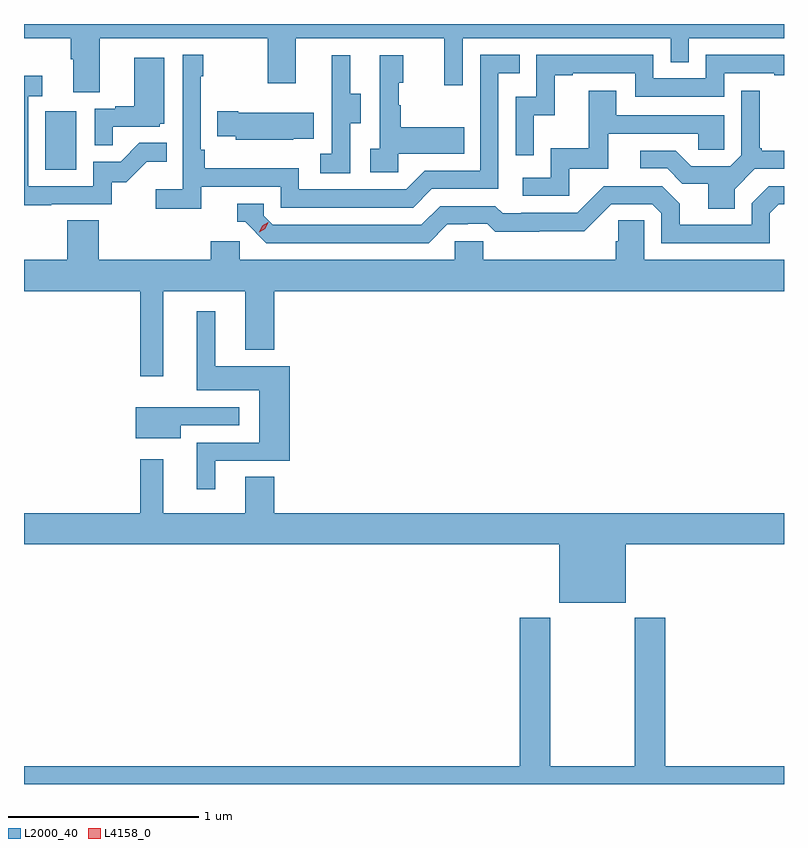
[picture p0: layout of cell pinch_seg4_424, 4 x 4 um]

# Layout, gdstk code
import gdstk
lib = gdstk.Library(unit=1e-6, precision=1e-09)
def R(c, l, rs):  # rectangles x0, y0, x1, y1
    for r in rs: c.add(gdstk.rectangle(r[:2], r[2:], *l))
def P(c, l, *ps):  # polygons
    for p in ps: c.add(gdstk.Polygon(p, *l))
L2000_40 = (2000, 40)
L4158_0 = (4158, 0)

pinch_seg4_424 = lib.new_cell('pinch_seg4_424')
R(pinch_seg4_424, L2000_40, [(922.118,776.148,922.282,776.455)])
P(pinch_seg4_424, L2000_40, [(922.405,776.84),(923.29,776.84),(923.29,776.601),(923.437,776.601),(923.437,776.84),(924.218,776.84),(924.218,776.592),(924.315,776.592),(924.315,776.84),(925.41,776.84),(925.41,776.713),(925.506,776.713),(925.506,776.84),(926.007,776.84),(926.007,776.914),(922.007,776.914),(922.007,776.84),(922.253,776.84),(922.253,776.728),(922.265,776.728),(922.265,776.554),(922.405,776.554)],
  [(922.94,776.058),(923.358,776.058),(923.358,775.947),(924.055,775.947),(924.154,776.046),(924.504,776.046),(924.504,776.655),(924.617,776.655),(924.617,776.751),(924.408,776.751),(924.408,776.142),(924.117,776.142),(924.018,776.043),(923.454,776.043),(923.454,776.155),(922.958,776.155),(922.958,776.251),(922.938,776.251),(922.938,776.639),(922.951,776.639),(922.951,776.752),(922.842,776.752),(922.842,776.044),(922.701,776.044),(922.701,775.942),(922.94,775.942)],
  [(924.69,776.435),(924.8,776.435),(924.8,776.643),(924.895,776.643),(924.895,776.655),(925.224,776.655),(925.224,776.532),(925.692,776.532),(925.692,776.655),(925.955,776.655),(925.955,776.643),(926.007,776.643),(926.007,776.751),(925.596,776.751),(925.596,776.628),(925.32,776.628),(925.32,776.751),(924.702,776.751),(924.702,776.532),(924.594,776.532),(924.594,776.223),(924.69,776.223)],
  [(923.976,776.231),(924.323,776.231),(924.323,776.371),(923.989,776.371),(923.989,776.486),(923.979,776.486),(923.979,776.604),(924.004,776.604),(924.004,776.749),(923.88,776.749),(923.88,776.258),(923.829,776.258),(923.829,776.133),(923.976,776.133)],
  [(923.724,776.392),(923.779,776.392),(923.779,776.547),(923.725,776.547),(923.725,776.749),(923.627,776.749),(923.627,776.535),(923.628,776.535),(923.628,776.231),(923.565,776.231),(923.565,776.128),(923.724,776.128)],
  [(922.475,776.373),(922.722,776.373),(922.722,776.388),(922.744,776.388),(922.744,776.737),(922.586,776.737),(922.586,776.482),(922.487,776.482),(922.487,776.469),(922.38,776.469),(922.38,776.275),(922.475,776.275)],
  [(922.151,775.965),(922.47,775.965),(922.47,776.082),(922.546,776.082),(922.653,776.189),(922.757,776.189),(922.757,776.288),(922.613,776.288),(922.515,776.19),(922.371,776.19),(922.371,776.061),(922.029,776.061),(922.029,776.535),(922.102,776.535),(922.102,776.641),(922.007,776.641),(922.007,775.96),(922.151,775.96)],
  [(924.876,776.151),(925.081,776.151),(925.081,776.337),(925.555,776.337),(925.555,776.253),(925.692,776.253),(925.692,776.433),(925.123,776.433),(925.123,776.563),(924.979,776.563),(924.979,776.26),(924.78,776.26),(924.78,776.106),(924.633,776.106),(924.633,776.01),(924.876,776.01)],
  [(925.747,776.044),(925.854,776.151),(926.007,776.151),(926.007,776.248),(925.891,776.248),(925.891,776.26),(925.879,776.26),(925.879,776.563),(925.782,776.563),(925.782,776.223),(925.725,776.166),(925.519,776.166),(925.438,776.247),(925.251,776.247),(925.251,776.154),(925.392,776.154),(925.472,776.074),(925.607,776.074),(925.607,775.942),(925.747,775.942)],
  [(923.423,776.309),(923.531,776.309),(923.531,776.446),(923.134,776.446),(923.134,776.454),(923.023,776.454),(923.023,776.324),(923.121,776.324),(923.121,776.306),(923.423,776.306)],
  [(924.235,775.86),(924.342,775.86),(924.342,775.863),(924.445,775.863),(924.487,775.821),(924.72,775.821),(924.72,775.823),(924.956,775.823),(925.098,775.965),(925.314,775.965),(925.362,775.917),(925.362,775.761),(925.932,775.761),(925.932,775.917),(925.98,775.965),(926.007,775.965),(926.007,776.061),(925.926,776.061),(925.836,775.971),(925.836,775.857),(925.459,775.857),(925.459,775.967),(925.365,776.061),(925.059,776.061),(924.918,775.92),(924.625,775.92),(924.625,775.917),(924.526,775.917),(924.487,775.956),(924.198,775.956),(924.099,775.857),(923.316,775.857),(923.268,775.905),(923.268,775.968),(923.129,775.968),(923.129,775.872),(923.172,775.872),(923.283,775.761),(924.136,775.761)],
  [(923.142,775.77),(922.991,775.77),(922.991,775.672),(922.4,775.672),(922.4,775.88),(922.235,775.88),(922.235,775.672),(922.007,775.672),(922.007,775.508),(922.62,775.508),(922.62,775.059),(922.741,775.059),(922.741,775.508),(923.171,775.508),(923.171,775.199),(923.324,775.199),(923.324,775.508),(926.007,775.508),(926.007,775.672),(925.272,775.672),(925.272,775.88),(925.135,775.88),(925.135,775.77),(925.121,775.77),(925.121,775.672),(924.423,775.672),(924.423,775.77),(924.273,775.77),(924.273,775.672),(923.142,775.672)],
  [(923.014,774.615),(923.405,774.615),(923.405,775.114),(923.014,775.114),(923.014,775.402),(922.916,775.402),(922.916,774.986),(923.246,774.986),(923.246,774.711),(922.916,774.711),(922.916,774.465),(923.014,774.465)],
  [(922.831,774.801),(923.14,774.801),(923.14,774.897),(922.827,774.897),(922.827,774.898),(922.596,774.898),(922.596,774.734),(922.831,774.734)],
  [(925.174,774.176),(926.007,774.176),(926.007,774.34),(923.324,774.34),(923.324,774.53),(923.171,774.53),(923.171,774.34),(922.741,774.34),(922.741,774.622),(922.62,774.622),(922.62,774.34),(922.007,774.34),(922.007,774.176),(924.824,774.176),(924.824,773.867),(925.174,773.867)],
  [(926.007,773.008),(925.382,773.008),(925.382,773.788),(925.222,773.788),(925.222,773.008),(924.777,773.008),(924.777,773.788),(924.617,773.788),(924.617,773.008),(922.007,773.008),(922.007,772.914),(926.007,772.914)])
P(pinch_seg4_424, L4158_0, [(923.246,775.818),(923.246,775.818),(923.262,775.851),(923.292,775.87),(923.293,775.87),(923.293,775.87),(923.277,775.837),(923.246,775.818)])

lib.write_gds('pinch_seg4_424.gds')
